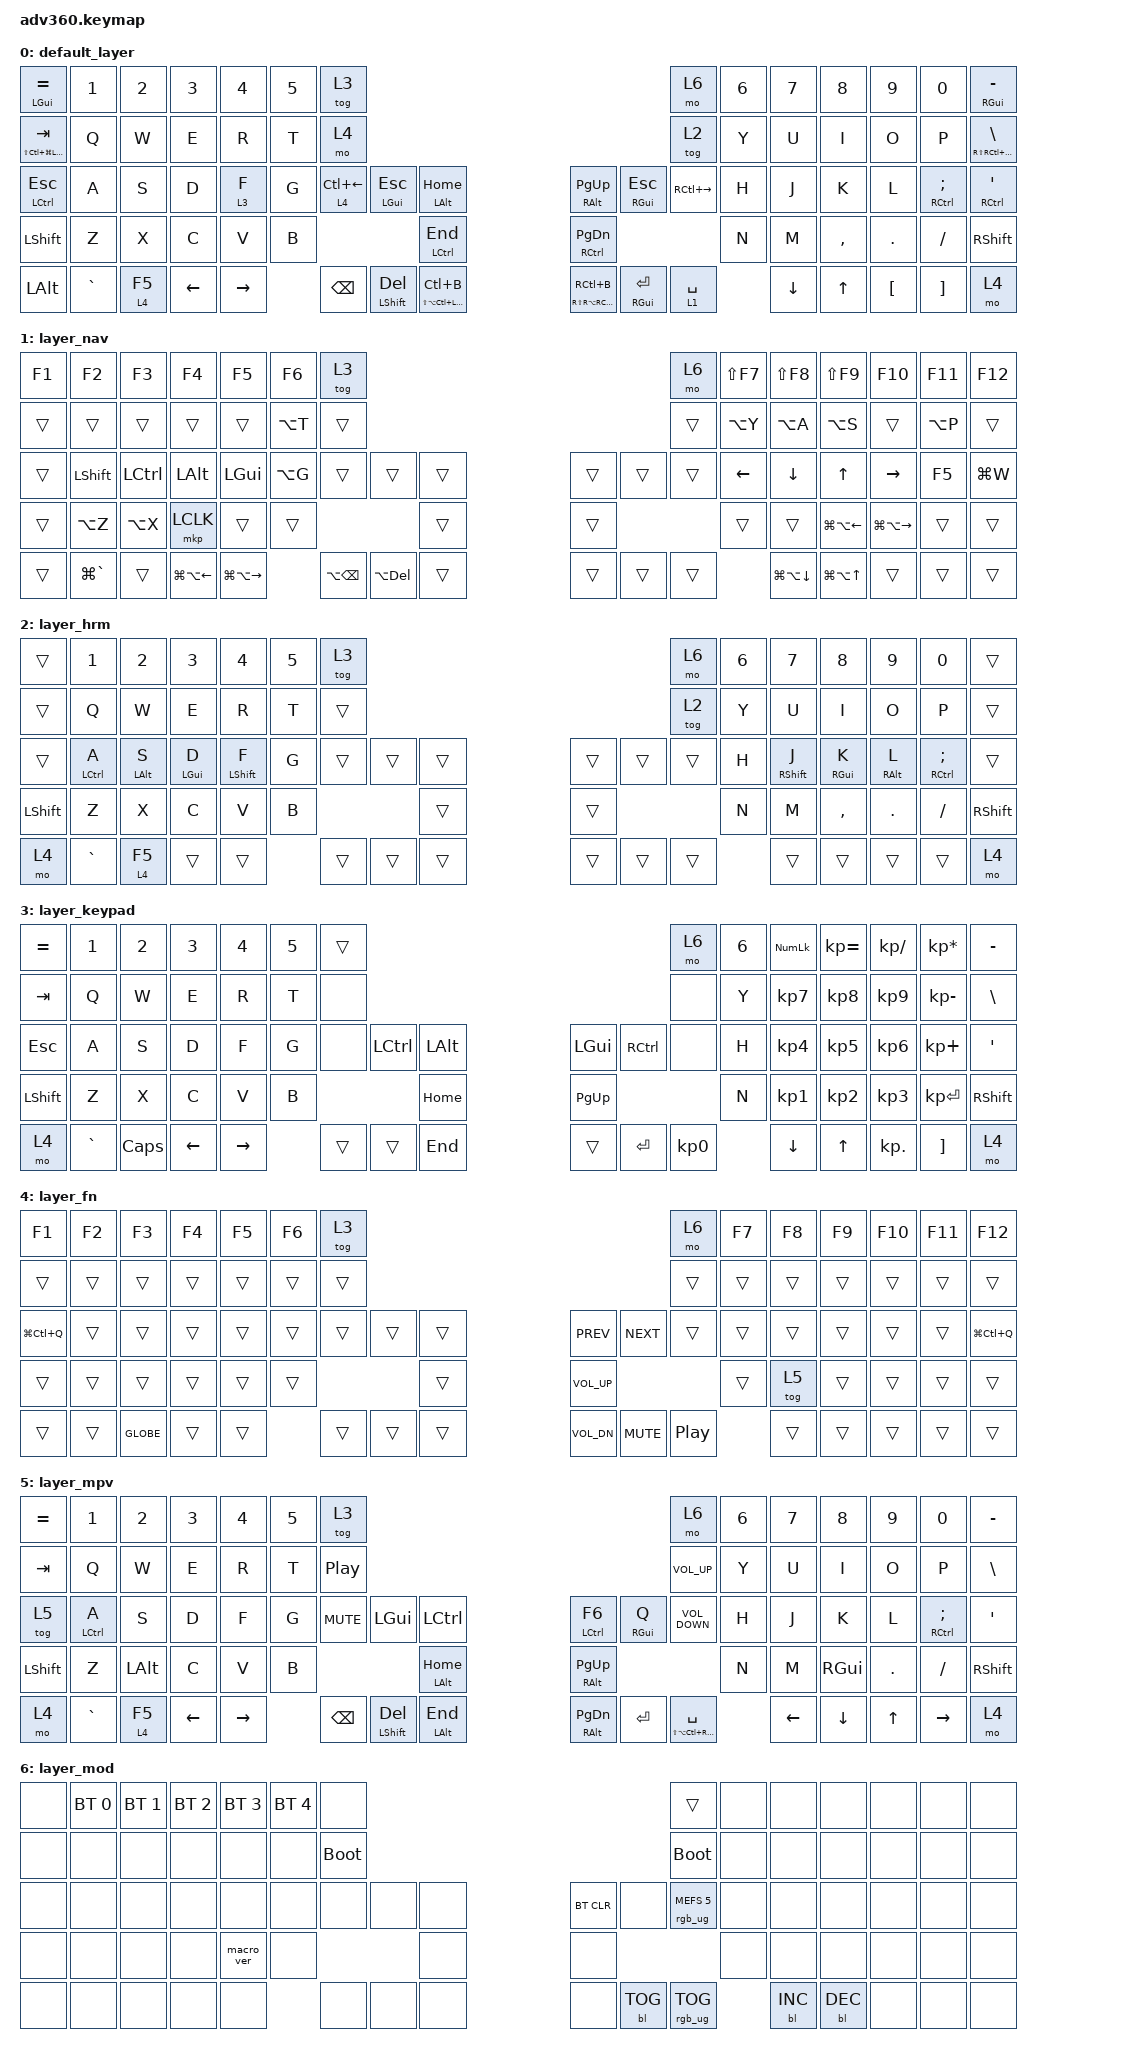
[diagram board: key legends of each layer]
/*
 * Copyright (c) 2020 The ZMK Contributors
 *
 * SPDX-License-Identifier: MIT
 */
/* THIS FILE WAS GENERATED!
 *
 * This file was generated automatically. You may or may not want to
 * edit it directly.
 */

#include <behaviors.dtsi>
#include <dt-bindings/zmk/backlight.h>
#include <dt-bindings/zmk/bt.h>
#include <dt-bindings/zmk/keys.h>
#include <dt-bindings/zmk/mouse.h>
#include <dt-bindings/zmk/rgb.h>

/ {
    behaviors {
        #include "macros.dtsi"
    #include "version.dtsi"

        hm: homerow_mods {
            compatible = "zmk,behavior-hold-tap";
            label = "HOMEROW_MODS";
            #binding-cells = <2>;
            tapping-term-ms = <200>;
            quick_tap_ms = <175>;
            flavor = "tap-preferred";
            bindings = <&kp>, <&kp>;
        };
    };

    keymap {
        compatible = "zmk,keymap";

        default_layer {
            bindings = <
&hm LGUI EQUAL            &kp N1     &kp N2    &kp N3    &kp N4     &kp N5  &tog 3                                                                                                       &mo 6          &kp N6  &kp N7    &kp N8     &kp N9      &kp N0               &hm RGUI MINUS
&hm LS(LC(LG(LALT))) TAB  &kp Q      &kp W     &kp E     &kp R      &kp T   &mo 4                                                                                                        &tog 2         &kp Y   &kp U     &kp I      &kp O       &kp P                &hm RS(RC(RG(RALT))) BSLH
&hm LCTRL ESC             &kp A      &kp S     &kp D     &lt 3 F    &kp G   &lt 4 LC(LEFT)  &hm LGUI ESCAPE  &hm LALT HOME                   &hm RALT PG_UP              &hm RGUI ESC    &kp RC(RIGHT)  &kp H   &kp J     &kp K      &kp L       &hm RCTRL SEMICOLON  &hm RCTRL SQT
&kp LSHFT                 &kp Z      &kp X     &kp C     &kp V      &kp B                                    &hm LCTRL END                   &hm RCTRL PG_DN                                            &kp N   &kp M     &kp COMMA  &kp PERIOD  &kp SLASH            &kp RSHFT
&kp LALT                  &kp GRAVE  &lt 4 F5  &kp LEFT  &kp RIGHT          &kp BACKSPACE   &hm LSHIFT DEL   &hm LS(LA(LC(LGUI))) LC(B)      &hm RS(RA(RC(RGUI))) RC(B)  &hm RGUI ENTER  &lt 1 SPACE            &kp DOWN  &kp UP     &kp LBKT    &kp RBKT             &mo 4
            >;
        };

        layer_nav {
            bindings = <
&kp F1  &kp F2         &kp F3     &kp F4                  &kp F5                   &kp F6     &tog 3                                                         &mo 6   &kp LS(F7)  &kp LS(F8)              &kp LS(F9)              &kp F10                  &kp F11    &kp F12
&trans  &trans         &trans     &trans                  &trans                   &kp LA(T)  &trans                                                         &trans  &kp LA(Y)   &kp LA(A)               &kp LA(S)               &trans                   &kp LA(P)  &trans
&trans  &kp LSHFT      &kp LCTRL  &kp LALT                &kp LGUI                 &kp LA(G)  &trans             &trans          &trans      &trans  &trans  &trans  &kp LEFT    &kp DOWN                &kp UP                  &kp RIGHT                &kp F5     &kp LG(W)
&trans  &kp LA(Z)      &kp LA(X)  &mkp LCLK               &trans                   &trans                                        &trans      &trans                  &trans      &trans                  &kp LG(LA(LEFT_ARROW))  &kp LG(LA(RIGHT_ARROW))  &trans     &trans
&trans  &kp LG(GRAVE)  &trans     &kp LG(LA(LEFT_ARROW))  &kp LG(LA(RIGHT_ARROW))             &kp LA(BACKSPACE)  &kp LA(DELETE)  &trans      &trans  &trans  &trans              &kp LG(LA(DOWN_ARROW))  &kp LG(LA(UP_ARROW))    &trans                   &trans     &trans
            >;
        };

        layer_hrm {
            bindings = <
&trans     &kp N1       &kp N2      &kp N3      &kp N4       &kp N5  &tog 3                                      &mo 6   &kp N6  &kp N7       &kp N8      &kp N9      &kp N0               &trans
&trans     &kp Q        &kp W       &kp E       &kp R        &kp T   &trans                                      &tog 2  &kp Y   &kp U        &kp I       &kp O       &kp P                &trans
&trans     &hm LCTRL A  &hm LALT S  &hm LGUI D  &hm LSHFT F  &kp G   &trans  &trans  &trans      &trans  &trans  &trans  &kp H   &hm RSHFT J  &hm RGUI K  &hm RALT L  &hm RCTRL SEMICOLON  &trans
&kp LSHFT  &kp Z        &kp X       &kp C       &kp V        &kp B                   &trans      &trans                  &kp N   &kp M        &kp COMMA   &kp PERIOD  &kp SLASH            &kp RSHFT
&mo 4      &kp GRAVE    &lt 4 F5    &trans      &trans               &trans  &trans  &trans      &trans  &trans  &trans          &trans       &trans      &trans      &trans               &mo 4
            >;
        };

        layer_keypad {
            bindings = <
&kp EQUAL  &kp N1     &kp N2    &kp N3    &kp N4     &kp N5  &trans                                                 &mo 6      &kp N6  &kp KP_NUM  &kp KP_EQUAL  &kp KP_DIVIDE  &kp KP_MULTIPLY  &kp MINUS
&kp TAB    &kp Q      &kp W     &kp E     &kp R      &kp T   &none                                                  &none      &kp Y   &kp KP_N7   &kp KP_N8     &kp KP_N9      &kp KP_MINUS     &kp BSLH
&kp ESC    &kp A      &kp S     &kp D     &kp F      &kp G   &none   &kp LCTRL  &kp LALT      &kp LGUI   &kp RCTRL  &none      &kp H   &kp KP_N4   &kp KP_N5     &kp KP_N6      &kp KP_PLUS      &kp SQT
&kp LSHFT  &kp Z      &kp X     &kp C     &kp V      &kp B                      &kp HOME      &kp PG_UP                        &kp N   &kp KP_N1   &kp KP_N2     &kp KP_N3      &kp KP_ENTER     &kp RSHFT
&mo 4      &kp GRAVE  &kp CAPS  &kp LEFT  &kp RIGHT          &trans  &trans     &kp END       &trans     &kp ENTER  &kp KP_N0          &kp DOWN    &kp UP        &kp KP_DOT     &kp RBKT         &mo 4
            >;
        };

        layer_fn {
            bindings = <
&kp F1         &kp F2  &kp F3     &kp F4  &kp F5  &kp F6  &tog 3                                                &mo 6             &kp F7  &kp F8  &kp F9  &kp F10  &kp F11  &kp F12
&trans         &trans  &trans     &trans  &trans  &trans  &trans                                                &trans            &trans  &trans  &trans  &trans   &trans   &trans
&kp LG(LC(Q))  &trans  &trans     &trans  &trans  &trans  &trans  &trans  &trans      &kp C_PREV    &kp C_NEXT  &trans            &trans  &trans  &trans  &trans   &trans   &kp LG(LC(Q))
&trans         &trans  &trans     &trans  &trans  &trans                  &trans      &kp C_VOL_UP                                &trans  &tog 5  &trans  &trans   &trans   &trans
&trans         &trans  &kp GLOBE  &trans  &trans          &trans  &trans  &trans      &kp C_VOL_DN  &kp C_MUTE  &kp C_PLAY_PAUSE          &trans  &trans  &trans   &trans   &trans
            >;
        };

        layer_mpv {
            bindings = <
&kp EQUAL  &kp N1       &kp N2    &kp N3    &kp N4     &kp N5  &tog 3                                                                                  &mo 6                            &kp N6  &kp N7    &kp N8    &kp N9      &kp N0               &kp MINUS
&kp TAB    &kp Q        &kp W     &kp E     &kp R      &kp T   &kp C_PLAY_PAUSE                                                                        &kp C_VOLUME_UP                  &kp Y   &kp U     &kp I     &kp O       &kp P                &kp BSLH
&tog 5     &hm LCTRL A  &kp S     &kp D     &kp F      &kp G   &kp C_MUTE        &kp LGUI               &kp LCTRL          &hm LCTRL F6    &hm RGUI Q  &kp C_VOLUME_DOWN                &kp H   &kp J     &kp K     &kp L       &hm RCTRL SEMICOLON  &kp SQT
&kp LSHFT  &kp Z        &kp LALT  &kp C     &kp V      &kp B                                            &hm LALT HOME      &hm RALT PG_UP                                               &kp N   &kp M     &kp RGUI  &kp PERIOD  &kp SLASH            &kp RSHFT
&mo 4      &kp GRAVE    &lt 4 F5  &kp LEFT  &kp RIGHT          &kp BSPC          &hm LEFT_SHIFT DELETE  &hm LALT END       &hm RALT PG_DN  &kp ENTER   &hm LS(LA(LC(RIGHT_GUI))) SPACE          &kp LEFT  &kp DOWN  &kp UP      &kp RIGHT            &mo 4
            >;
        };

        layer_mod {
            bindings = <
&none  &bt BT_SEL 0  &bt BT_SEL 1  &bt BT_SEL 2  &bt BT_SEL 3  &bt BT_SEL 4  &none                                                  &trans                  &none  &none       &none       &none  &none  &none
&none  &none         &none         &none         &none         &none         &bootloader                                            &bootloader             &none  &none       &none       &none  &none  &none
&none  &none         &none         &none         &none         &none         &none        &none  &none      &bt BT_CLR  &none       &rgb_ug RGB_MEFS_CMD 5  &none  &none       &none       &none  &none  &none
&none  &none         &none         &none         &macro_ver    &none                             &none      &none                                           &none  &none       &none       &none  &none  &none
&none  &none         &none         &none         &none                       &none        &none  &none      &none       &bl BL_TOG  &rgb_ug RGB_TOG                &bl BL_INC  &bl BL_DEC  &none  &none  &none
            >;
        };
    };
};
